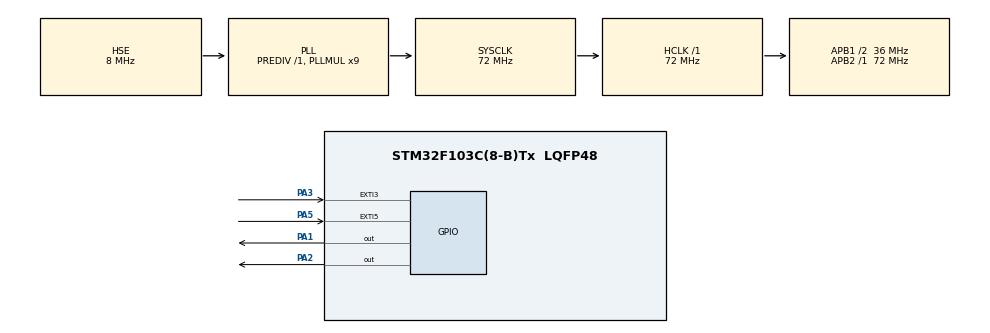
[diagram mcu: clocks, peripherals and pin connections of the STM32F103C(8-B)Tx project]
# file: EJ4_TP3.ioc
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Mcu.Family=STM32F1
Mcu.Name=STM32F103C(8-B)Tx
Mcu.Package=LQFP48
NVIC.EXTI3_IRQn=true\:0\:0\:false\:false\:true\:true\:true\:true
NVIC.EXTI9_5_IRQn=true\:0\:0\:false\:false\:true\:true\:true\:true
NVIC.PriorityGroup=NVIC_PRIORITYGROUP_4
PA1.Signal=GPIO_Output
PA13.Mode=Serial_Wire
PA13.Signal=SYS_JTMS-SWDIO
PA14.Mode=Serial_Wire
PA14.Signal=SYS_JTCK-SWCLK
PA2.Signal=GPIO_Output
PA3.GPIO_ModeDefaultEXTI=GPIO_MODE_IT_FALLING
PA3.GPIO_PuPd=GPIO_PULLUP
PA3.Signal=GPXTI3
PA5.GPIO_ModeDefaultEXTI=GPIO_MODE_IT_FALLING
PA5.GPIO_PuPd=GPIO_PULLUP
PA5.Signal=GPXTI5
PD0-OSC_IN.Mode=HSE-External-Oscillator
PD0-OSC_IN.Signal=RCC_OSC_IN
PD1-OSC_OUT.Mode=HSE-External-Oscillator
PD1-OSC_OUT.Signal=RCC_OSC_OUT
ProjectManager.HeapSize=0x200
ProjectManager.StackSize=0x400
ProjectManager.TargetToolchain=STM32CubeIDE
RCC.AHBFreq_Value=72000000
RCC.APB1CLKDivider=RCC_HCLK_DIV2
RCC.APB1Freq_Value=36000000
RCC.APB1TimFreq_Value=72000000
RCC.APB2Freq_Value=72000000
RCC.APB2TimFreq_Value=72000000
RCC.HCLKFreq_Value=72000000
RCC.PLLMUL=RCC_PLL_MUL9
RCC.PLLSourceVirtual=RCC_PLLSOURCE_HSE
RCC.SYSCLKFreq_VALUE=72000000
RCC.SYSCLKSource=RCC_SYSCLKSOURCE_PLLCLK
RCC.USBFreq_Value=72000000
board=custom

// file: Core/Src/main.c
/* USER CODE BEGIN Header */
/**
  ******************************************************************************
  * @file           : main.c
  * @brief          : Main program body
  ******************************************************************************
  * @attention
  *
  * Copyright (c) 2026 STMicroelectronics.
  * All rights reserved.
  *
  * This software is licensed under terms that can be found in the LICENSE file
  * in the root directory of this software component.
  * If no LICENSE file comes with this software, it is provided AS-IS.
  *
  ******************************************************************************
  */
/* USER CODE END Header */
#include "main.h"

/* USER CODE BEGIN Includes */
#include "FSM_antirrebote.h"
/* USER CODE END Includes */

void SystemClock_Config(void);
static void MX_GPIO_Init(void);

/* USER CODE BEGIN 0 */
volatile uint8_t flag_pin3 = 0;
volatile uint8_t flag_pin5 = 0;

void HAL_GPIO_EXTI_Callback(uint16_t GPIO_Pin)
{
    if (GPIO_Pin == GPIO_PIN_3) flag_pin3 = 1;
    if (GPIO_Pin == GPIO_PIN_5) flag_pin5 = 1; // Corregido el valor de asignación
}
/* USER CODE END 0 */

int main(void)
{

  /* MCU Configuration--------------------------------------------------------*/

  /* Reset of all peripherals, Initializes the Flash interface and the Systick. */
  HAL_Init();

  /* Configure the system clock */
  SystemClock_Config();

  /* Initialize all configured peripherals */
  MX_GPIO_Init();
  /* USER CODE BEGIN 2 */
  Pulsador blanco, azul;
  uint8_t contador=0;
  ANTIRREBOTE_iniciar(&blanco, GPIOA, GPIO_PIN_3, PULLUP);
  ANTIRREBOTE_iniciar(&azul, GPIOA, GPIO_PIN_5, PULLUP);
  /* USER CODE END 2 */

  /* Infinite loop */
  while (1)
  {

    /* USER CODE BEGIN 3 */

	  if (flag_pin3 == 1){
	            switch(antirrebote(&blanco)) {
	                case ESTADO_PRESIONADO:
	                    HAL_GPIO_TogglePin(GPIOA, GPIO_PIN_1); contador++;
	                    break;
	                case ESTADO_REPOSO:
	                    flag_pin3 = 0;
	                    break;
	                default:
	                    break;
	            }
	        }

	        if (flag_pin5 == 1){
	            switch(antirrebote(&azul)) {
	                case ESTADO_PRESIONADO:
	                    HAL_GPIO_TogglePin(GPIOA, GPIO_PIN_2); contador++;
	                    break;
	                case ESTADO_REPOSO:
	                    flag_pin5 = 0;
	                    break;
	                default:
	                    break;
	            }
	        }
  }
  /* USER CODE END 3 */
}

void SystemClock_Config(void)
{
  RCC_OscInitTypeDef RCC_OscInitStruct = {0};
  RCC_ClkInitTypeDef RCC_ClkInitStruct = {0};

  /** Initializes the RCC Oscillators according to the specified parameters
  * in the RCC_OscInitTypeDef structure.
  */
  RCC_OscInitStruct.OscillatorType = RCC_OSCILLATORTYPE_HSE;
  RCC_OscInitStruct.HSEState = RCC_HSE_ON;
  RCC_OscInitStruct.HSEPredivValue = RCC_HSE_PREDIV_DIV1;
  RCC_OscInitStruct.HSIState = RCC_HSI_ON;
  RCC_OscInitStruct.PLL.PLLState = RCC_PLL_ON;
  RCC_OscInitStruct.PLL.PLLSource = RCC_PLLSOURCE_HSE;
  RCC_OscInitStruct.PLL.PLLMUL = RCC_PLL_MUL9;
  if (HAL_RCC_OscConfig(&RCC_OscInitStruct) != HAL_OK)
  {
    Error_Handler();
  }

  /** Initializes the CPU, AHB and APB buses clocks
  */
  RCC_ClkInitStruct.ClockType = RCC_CLOCKTYPE_HCLK|RCC_CLOCKTYPE_SYSCLK
                              |RCC_CLOCKTYPE_PCLK1|RCC_CLOCKTYPE_PCLK2;
  RCC_ClkInitStruct.SYSCLKSource = RCC_SYSCLKSOURCE_PLLCLK;
  RCC_ClkInitStruct.AHBCLKDivider = RCC_SYSCLK_DIV1;
  RCC_ClkInitStruct.APB1CLKDivider = RCC_HCLK_DIV2;
  RCC_ClkInitStruct.APB2CLKDivider = RCC_HCLK_DIV1;

  if (HAL_RCC_ClockConfig(&RCC_ClkInitStruct, FLASH_LATENCY_2) != HAL_OK)
  {
    Error_Handler();
  }
}

static void MX_GPIO_Init(void)
{
  GPIO_InitTypeDef GPIO_InitStruct = {0};

  /* GPIO Ports Clock Enable */
  __HAL_RCC_GPIOD_CLK_ENABLE();
  __HAL_RCC_GPIOA_CLK_ENABLE();

  /*Configure GPIO pin Output Level */
  HAL_GPIO_WritePin(GPIOA, GPIO_PIN_1|GPIO_PIN_2, GPIO_PIN_RESET);

  /*Configure GPIO pins : PA1 PA2 */
  GPIO_InitStruct.Pin = GPIO_PIN_1|GPIO_PIN_2;
  GPIO_InitStruct.Mode = GPIO_MODE_OUTPUT_PP;
  GPIO_InitStruct.Pull = GPIO_NOPULL;
  GPIO_InitStruct.Speed = GPIO_SPEED_FREQ_LOW;
  HAL_GPIO_Init(GPIOA, &GPIO_InitStruct);

  /*Configure GPIO pins : PA3 PA5 */
  GPIO_InitStruct.Pin = GPIO_PIN_3|GPIO_PIN_5;
  GPIO_InitStruct.Mode = GPIO_MODE_IT_FALLING;
  GPIO_InitStruct.Pull = GPIO_PULLUP;
  HAL_GPIO_Init(GPIOA, &GPIO_InitStruct);

  /* EXTI interrupt init*/
  HAL_NVIC_SetPriority(EXTI3_IRQn, 0, 0);
  HAL_NVIC_EnableIRQ(EXTI3_IRQn);

  HAL_NVIC_SetPriority(EXTI9_5_IRQn, 0, 0);
  HAL_NVIC_EnableIRQ(EXTI9_5_IRQn);

}

void Error_Handler(void)
{
  __disable_irq();
  while (1)
  {
  }
}
